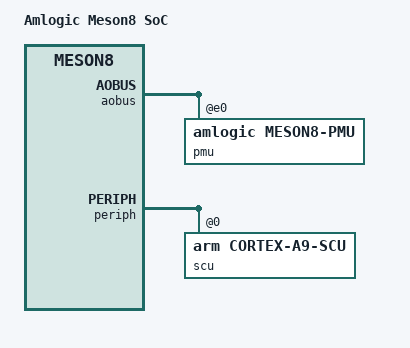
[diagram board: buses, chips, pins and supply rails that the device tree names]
/*
 * Copyright 2014 Carlo Caione <carlo@caione.org>
 *
 * This file is dual-licensed: you can use it either under the terms
 * of the GPL or the X11 license, at your option. Note that this dual
 * licensing only applies to this file, and not this project as a
 * whole.
 *
 *  a) This library is free software; you can redistribute it and/or
 *     modify it under the terms of the GNU General Public License as
 *     published by the Free Software Foundation; either version 2 of the
 *     License, or (at your option) any later version.
 *
 *     This library is distributed in the hope that it will be useful,
 *     but WITHOUT ANY WARRANTY; without even the implied warranty of
 *     MERCHANTABILITY or FITNESS FOR A PARTICULAR PURPOSE.  See the
 *     GNU General Public License for more details.
 *
 *     You should have received a copy of the GNU General Public License
 *     along with this program. If not, see <http://www.gnu.org/licenses/>.
 *
 * Or, alternatively,
 *
 *  b) Permission is hereby granted, free of charge, to any person
 *     obtaining a copy of this software and associated documentation
 *     files (the "Software"), to deal in the Software without
 *     restriction, including without limitation the rights to use,
 *     copy, modify, merge, publish, distribute, sublicense, and/or
 *     sell copies of the Software, and to permit persons to whom the
 *     Software is furnished to do so, subject to the following
 *     conditions:
 *
 *     The above copyright notice and this permission notice shall be
 *     included in all copies or substantial portions of the Software.
 *
 *     THE SOFTWARE IS PROVIDED "AS IS", WITHOUT WARRANTY OF ANY KIND,
 *     EXPRESS OR IMPLIED, INCLUDING BUT NOT LIMITED TO THE WARRANTIES
 *     OF MERCHANTABILITY, FITNESS FOR A PARTICULAR PURPOSE AND
 *     NONINFRINGEMENT. IN NO EVENT SHALL THE AUTHORS OR COPYRIGHT
 *     HOLDERS BE LIABLE FOR ANY CLAIM, DAMAGES OR OTHER LIABILITY,
 *     WHETHER IN AN ACTION OF CONTRACT, TORT OR OTHERWISE, ARISING
 *     FROM, OUT OF OR IN CONNECTION WITH THE SOFTWARE OR THE USE OR
 *     OTHER DEALINGS IN THE SOFTWARE.
 */

#include <dt-bindings/clock/meson8b-clkc.h>
#include <dt-bindings/gpio/meson8-gpio.h>
#include <dt-bindings/reset/amlogic,meson8b-clkc-reset.h>
#include <dt-bindings/reset/amlogic,meson8b-reset.h>
#include "meson.dtsi"

/ {
	model = "Amlogic Meson8 SoC";
	compatible = "amlogic,meson8";

	cpus {
		#address-cells = <1>;
		#size-cells = <0>;

		cpu0: cpu@200 {
			device_type = "cpu";
			compatible = "arm,cortex-a9";
			next-level-cache = <&L2>;
			reg = <0x200>;
			enable-method = "amlogic,meson8-smp";
			resets = <&clkc CLKC_RESET_CPU0_SOFT_RESET>;
			operating-points-v2 = <&cpu_opp_table>;
			clocks = <&clkc CLKID_CPUCLK>;
		};

		cpu1: cpu@201 {
			device_type = "cpu";
			compatible = "arm,cortex-a9";
			next-level-cache = <&L2>;
			reg = <0x201>;
			enable-method = "amlogic,meson8-smp";
			resets = <&clkc CLKC_RESET_CPU1_SOFT_RESET>;
			operating-points-v2 = <&cpu_opp_table>;
			clocks = <&clkc CLKID_CPUCLK>;
		};

		cpu2: cpu@202 {
			device_type = "cpu";
			compatible = "arm,cortex-a9";
			next-level-cache = <&L2>;
			reg = <0x202>;
			enable-method = "amlogic,meson8-smp";
			resets = <&clkc CLKC_RESET_CPU2_SOFT_RESET>;
			operating-points-v2 = <&cpu_opp_table>;
			clocks = <&clkc CLKID_CPUCLK>;
		};

		cpu3: cpu@203 {
			device_type = "cpu";
			compatible = "arm,cortex-a9";
			next-level-cache = <&L2>;
			reg = <0x203>;
			enable-method = "amlogic,meson8-smp";
			resets = <&clkc CLKC_RESET_CPU3_SOFT_RESET>;
			operating-points-v2 = <&cpu_opp_table>;
			clocks = <&clkc CLKID_CPUCLK>;
		};
	};

	cpu_opp_table: opp-table {
		compatible = "operating-points-v2";
		opp-shared;

		opp-96000000 {
			opp-hz = /bits/ 64 <96000000>;
			opp-microvolt = <825000>;
		};
		opp-192000000 {
			opp-hz = /bits/ 64 <192000000>;
			opp-microvolt = <825000>;
		};
		opp-312000000 {
			opp-hz = /bits/ 64 <312000000>;
			opp-microvolt = <825000>;
		};
		opp-408000000 {
			opp-hz = /bits/ 64 <408000000>;
			opp-microvolt = <825000>;
		};
		opp-504000000 {
			opp-hz = /bits/ 64 <504000000>;
			opp-microvolt = <825000>;
		};
		opp-600000000 {
			opp-hz = /bits/ 64 <600000000>;
			opp-microvolt = <850000>;
		};
		opp-720000000 {
			opp-hz = /bits/ 64 <720000000>;
			opp-microvolt = <850000>;
		};
		opp-816000000 {
			opp-hz = /bits/ 64 <816000000>;
			opp-microvolt = <875000>;
		};
		opp-1008000000 {
			opp-hz = /bits/ 64 <1008000000>;
			opp-microvolt = <925000>;
		};
		opp-1200000000 {
			opp-hz = /bits/ 64 <1200000000>;
			opp-microvolt = <975000>;
		};
		opp-1416000000 {
			opp-hz = /bits/ 64 <1416000000>;
			opp-microvolt = <1025000>;
		};
		opp-1608000000 {
			opp-hz = /bits/ 64 <1608000000>;
			opp-microvolt = <1100000>;
		};
		opp-1800000000 {
			status = "disabled";
			opp-hz = /bits/ 64 <1800000000>;
			opp-microvolt = <1125000>;
		};
		opp-1992000000 {
			status = "disabled";
			opp-hz = /bits/ 64 <1992000000>;
			opp-microvolt = <1150000>;
		};
	};

	pmu {
		compatible = "arm,cortex-a9-pmu";
		interrupts = <GIC_SPI 137 IRQ_TYPE_LEVEL_HIGH>,
			     <GIC_SPI 138 IRQ_TYPE_LEVEL_HIGH>,
			     <GIC_SPI 153 IRQ_TYPE_LEVEL_HIGH>,
			     <GIC_SPI 154 IRQ_TYPE_LEVEL_HIGH>;
		interrupt-affinity = <&cpu0>, <&cpu1>, <&cpu2>, <&cpu3>;
	};

	reserved-memory {
		#address-cells = <1>;
		#size-cells = <1>;
		ranges;

		/* 2 MiB reserved for Hardware ROM Firmware? */
		hwrom@0 {
			reg = <0x0 0x200000>;
			no-map;
		};

		/*
		 * 1 MiB reserved for the "ARM Power Firmware": this is ARM
		 * code which is responsible for system suspend. It loads a
		 * piece of ARC code ("arc_power" in the vendor u-boot tree)
		 * into SRAM, executes that and shuts down the (last) ARM core.
		 * The arc_power firmware then checks various wakeup sources
		 * (IR remote receiver, HDMI CEC, WIFI and Bluetooth wakeup or
		 * simply the power key) and re-starts the ARM core once it
		 * detects a wakeup request.
		 */
		power-firmware@4f00000 {
			reg = <0x4f00000 0x100000>;
			no-map;
		};
	};
}; /* end of / */

&aobus {
	pmu: pmu@e0 {
		compatible = "amlogic,meson8-pmu", "syscon";
		reg = <0xe0 0x8>;
	};

	pinctrl_aobus: pinctrl@84 {
		compatible = "amlogic,meson8-aobus-pinctrl";
		reg = <0x84 0xc>;
		#address-cells = <1>;
		#size-cells = <1>;
		ranges;

		gpio_ao: ao-bank@14 {
			reg = <0x14 0x4>,
			      <0x2c 0x4>,
			      <0x24 0x8>;
			reg-names = "mux", "pull", "gpio";
			gpio-controller;
			#gpio-cells = <2>;
			gpio-ranges = <&pinctrl_aobus 0 0 16>;
		};

		uart_ao_a_pins: uart_ao_a {
			mux {
				groups = "uart_tx_ao_a", "uart_rx_ao_a";
				function = "uart_ao";
				bias-disable;
			};
		};

		i2c_ao_pins: i2c_mst_ao {
			mux {
				groups = "i2c_mst_sck_ao", "i2c_mst_sda_ao";
				function = "i2c_mst_ao";
				bias-disable;
			};
		};

		ir_recv_pins: remote {
			mux {
				groups = "remote_input";
				function = "remote";
				bias-disable;
			};
		};

		pwm_f_ao_pins: pwm-f-ao {
			mux {
				groups = "pwm_f_ao";
				function = "pwm_f_ao";
				bias-disable;
			};
		};
	};
};

&cbus {
	clkc: clock-controller@4000 {
		#clock-cells = <1>;
		#reset-cells = <1>;
		compatible = "amlogic,meson8-clkc";
		reg = <0x8000 0x4>, <0x4000 0x400>;
	};

	reset: reset-controller@4404 {
		compatible = "amlogic,meson8b-reset";
		reg = <0x4404 0x9c>;
		#reset-cells = <1>;
	};

	analog_top: analog-top@81a8 {
		compatible = "amlogic,meson8-analog-top", "syscon";
		reg = <0x81a8 0x14>;
	};

	pwm_ef: pwm@86c0 {
		compatible = "amlogic,meson8-pwm", "amlogic,meson8b-pwm";
		reg = <0x86c0 0x10>;
		#pwm-cells = <3>;
		status = "disabled";
	};

	pinctrl_cbus: pinctrl@9880 {
		compatible = "amlogic,meson8-cbus-pinctrl";
		reg = <0x9880 0x10>;
		#address-cells = <1>;
		#size-cells = <1>;
		ranges;

		gpio: banks@80b0 {
			reg = <0x80b0 0x28>,
			      <0x80e8 0x18>,
			      <0x8120 0x18>,
			      <0x8030 0x30>;
			reg-names = "mux", "pull", "pull-enable", "gpio";
			gpio-controller;
			#gpio-cells = <2>;
			gpio-ranges = <&pinctrl_cbus 0 0 120>;
		};

		sd_a_pins: sd-a {
			mux {
				groups = "sd_d0_a", "sd_d1_a", "sd_d2_a",
					"sd_d3_a", "sd_clk_a", "sd_cmd_a";
				function = "sd_a";
				bias-disable;
			};
		};

		sd_b_pins: sd-b {
			mux {
				groups = "sd_d0_b", "sd_d1_b", "sd_d2_b",
					"sd_d3_b", "sd_clk_b", "sd_cmd_b";
				function = "sd_b";
				bias-disable;
			};
		};

		sd_c_pins: sd-c {
			mux {
				groups = "sd_d0_c", "sd_d1_c", "sd_d2_c",
					"sd_d3_c", "sd_clk_c", "sd_cmd_c";
				function = "sd_c";
				bias-disable;
			};
		};

		spi_nor_pins: nor {
			mux {
				groups = "nor_d", "nor_q", "nor_c", "nor_cs";
				function = "nor";
				bias-disable;
			};
		};

		eth_pins: ethernet {
			mux {
				groups = "eth_tx_clk_50m", "eth_tx_en",
					 "eth_txd1", "eth_txd0",
					 "eth_rx_clk_in", "eth_rx_dv",
					 "eth_rxd1", "eth_rxd0", "eth_mdio",
					 "eth_mdc";
				function = "ethernet";
				bias-disable;
			};
		};

		pwm_e_pins: pwm-e {
			mux {
				groups = "pwm_e";
				function = "pwm_e";
				bias-disable;
			};
		};

		uart_a1_pins: uart-a1 {
			mux {
				groups = "uart_tx_a1",
				       "uart_rx_a1";
				function = "uart_a";
				bias-disable;
			};
		};

		uart_a1_cts_rts_pins: uart-a1-cts-rts {
			mux {
				groups = "uart_cts_a1",
				       "uart_rts_a1";
				function = "uart_a";
				bias-disable;
			};
		};
	};
};

&ahb_sram {
	smp-sram@1ff80 {
		compatible = "amlogic,meson8-smp-sram";
		reg = <0x1ff80 0x8>;
	};
};

&efuse {
	compatible = "amlogic,meson8-efuse";
	clocks = <&clkc CLKID_EFUSE>;
	clock-names = "core";
};

&ethmac {
	clocks = <&clkc CLKID_ETH>;
	clock-names = "stmmaceth";
};

&gpio_intc {
	compatible = "amlogic,meson8-gpio-intc", "amlogic,meson-gpio-intc";
	status = "okay";
};

&hwrng {
	compatible = "amlogic,meson8-rng", "amlogic,meson-rng";
	clocks = <&clkc CLKID_RNG0>;
	clock-names = "core";
};

&i2c_AO {
	clocks = <&clkc CLKID_CLK81>;
};

&i2c_A {
	clocks = <&clkc CLKID_CLK81>;
};

&i2c_B {
	clocks = <&clkc CLKID_CLK81>;
};

&L2 {
	arm,data-latency = <3 3 3>;
	arm,tag-latency = <2 2 2>;
	arm,filter-ranges = <0x100000 0xc0000000>;
	prefetch-data = <1>;
	prefetch-instr = <1>;
	arm,shared-override;
};

&periph {
	scu@0 {
		compatible = "arm,cortex-a9-scu";
		reg = <0x0 0x100>;
	};

	timer@200 {
		compatible = "arm,cortex-a9-global-timer";
		reg = <0x200 0x20>;
		interrupts = <GIC_PPI 11 (GIC_CPU_MASK_SIMPLE(4) | IRQ_TYPE_EDGE_RISING)>;
		clocks = <&clkc CLKID_PERIPH>;

		/*
		 * the arm_global_timer driver currently does not handle clock
		 * rate changes. Keep it disabled for now.
		 */
		status = "disabled";
	};

	timer@600 {
		compatible = "arm,cortex-a9-twd-timer";
		reg = <0x600 0x20>;
		interrupts = <GIC_PPI 13 (GIC_CPU_MASK_SIMPLE(4) | IRQ_TYPE_EDGE_RISING)>;
		clocks = <&clkc CLKID_PERIPH>;
	};
};

&pwm_ab {
	compatible = "amlogic,meson8-pwm", "amlogic,meson8b-pwm";
};

&pwm_cd {
	compatible = "amlogic,meson8-pwm", "amlogic,meson8b-pwm";
};

&saradc {
	compatible = "amlogic,meson8-saradc", "amlogic,meson-saradc";
	clocks = <&clkc CLKID_XTAL>,
		<&clkc CLKID_SAR_ADC>;
	clock-names = "clkin", "core";
};

&sdio {
	compatible = "amlogic,meson8-sdio", "amlogic,meson-mx-sdio";
	clocks = <&clkc CLKID_SDIO>, <&clkc CLKID_CLK81>;
	clock-names = "core", "clkin";
};

&spifc {
	clocks = <&clkc CLKID_CLK81>;
};

&timer_abcde {
	clocks = <&clkc CLKID_XTAL>, <&clkc CLKID_CLK81>;
	clock-names = "xtal", "pclk";
};

&uart_AO {
	compatible = "amlogic,meson8-uart", "amlogic,meson-uart";
	clocks = <&clkc CLKID_CLK81>, <&clkc CLKID_XTAL>, <&clkc CLKID_CLK81>;
	clock-names = "baud", "xtal", "pclk";
};

&uart_A {
	compatible = "amlogic,meson8-uart", "amlogic,meson-uart";
	clocks = <&clkc CLKID_CLK81>, <&clkc CLKID_XTAL>, <&clkc CLKID_UART0>;
	clock-names = "baud", "xtal", "pclk";
};

&uart_B {
	compatible = "amlogic,meson8-uart", "amlogic,meson-uart";
	clocks = <&clkc CLKID_CLK81>, <&clkc CLKID_XTAL>, <&clkc CLKID_UART1>;
	clock-names = "baud", "xtal", "pclk";
};

&uart_C {
	compatible = "amlogic,meson8-uart", "amlogic,meson-uart";
	clocks = <&clkc CLKID_CLK81>, <&clkc CLKID_XTAL>, <&clkc CLKID_UART2>;
	clock-names = "baud", "xtal", "pclk";
};

&usb0 {
	compatible = "amlogic,meson8-usb", "snps,dwc2";
	clocks = <&clkc CLKID_USB0_DDR_BRIDGE>;
	clock-names = "otg";
};

&usb1 {
	compatible = "amlogic,meson8-usb", "snps,dwc2";
	clocks = <&clkc CLKID_USB1_DDR_BRIDGE>;
	clock-names = "otg";
};

&usb0_phy {
	compatible = "amlogic,meson8-usb2-phy", "amlogic,meson-mx-usb2-phy";
	clocks = <&clkc CLKID_USB>, <&clkc CLKID_USB0>;
	clock-names = "usb_general", "usb";
	resets = <&reset RESET_USB_OTG>;
};

&usb1_phy {
	compatible = "amlogic,meson8-usb2-phy", "amlogic,meson-mx-usb2-phy";
	clocks = <&clkc CLKID_USB>, <&clkc CLKID_USB1>;
	clock-names = "usb_general", "usb";
	resets = <&reset RESET_USB_OTG>;
};
